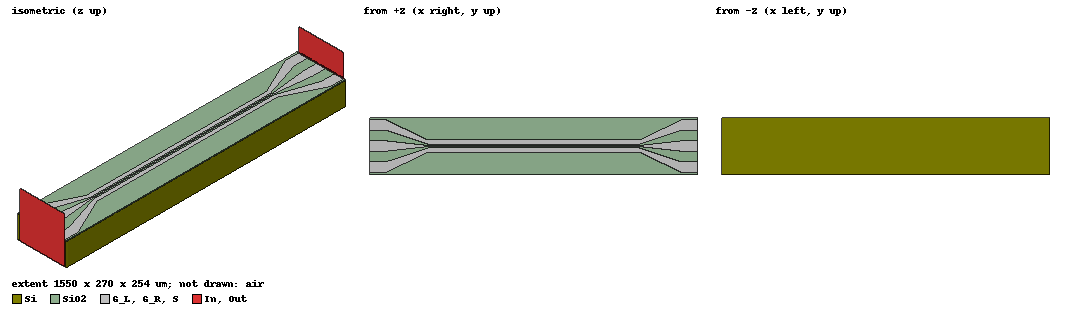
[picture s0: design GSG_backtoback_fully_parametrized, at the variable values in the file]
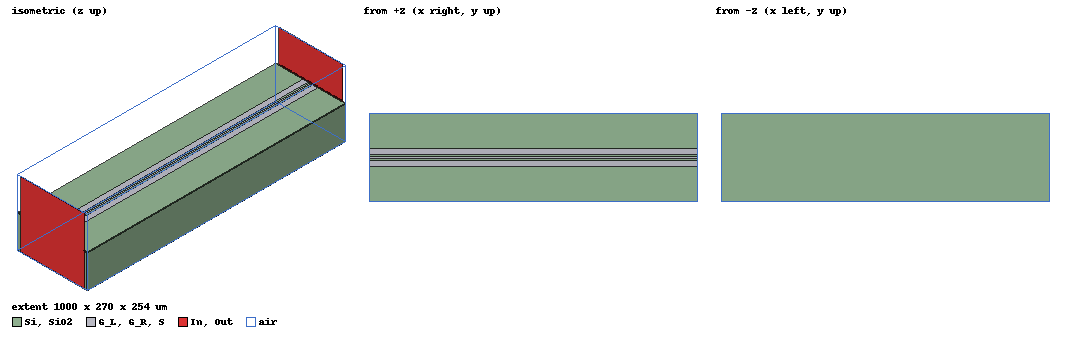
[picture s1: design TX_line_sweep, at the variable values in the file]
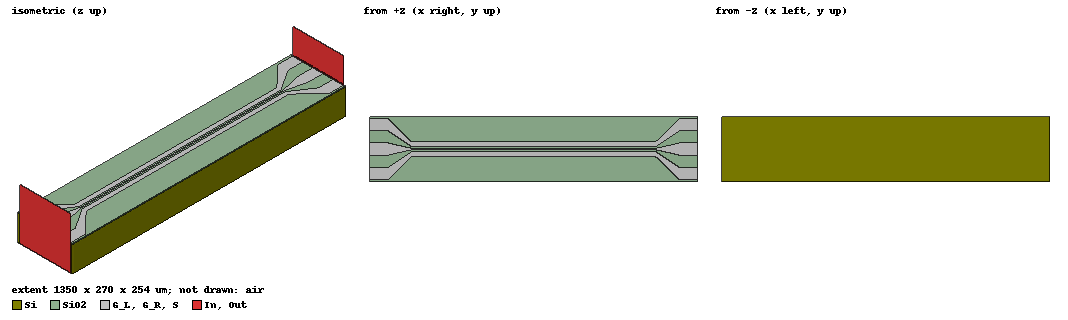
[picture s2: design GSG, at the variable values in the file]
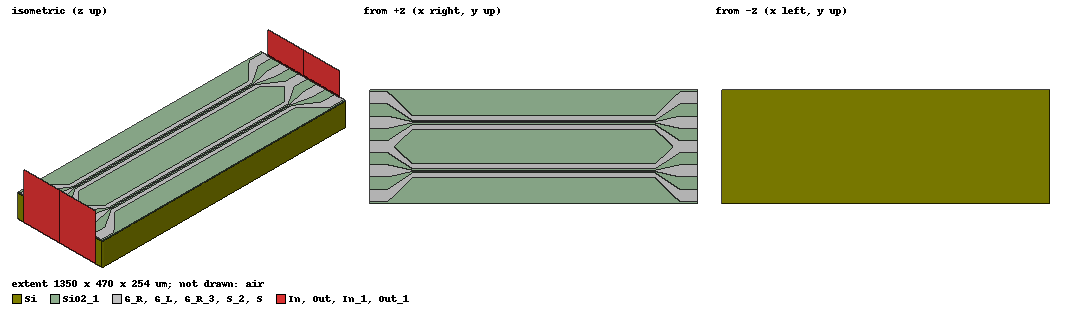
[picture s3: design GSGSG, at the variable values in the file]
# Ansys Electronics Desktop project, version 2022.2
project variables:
  $Si_sub = 127um
  $SiO2 = 1um
  $metal = 0.5um
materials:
  vacuum: permittivity=1
  silicon_dioxide: permittivity=4
  aluminum: permeability=1.000021 conductivity=38000000
  silicon: permittivity=11.9

design GSG_backtoback_fully_parametrized (HFSS, DrivenModal, model units um)
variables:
  pad_width = 50um
  pad_pitch = 50um
  pad_length = 75um
  transition = 200um
  end_width = 5um
  end_pitch = 6.4um
  end_length = 500um
  end_width_1 = 20um
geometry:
  SiO2 [silicon_dioxide] = box(corner=(0um, -0.5*(3*pad_width+2*pad_pitch+20um), -$SiO2), size=(pad_length+transition+end_length, 3*pad_width+2*pad_pitch+20um, $SiO2+$metal))
  S [aluminum] = box(corner=(0um, -0.5*pad_width, 0um), size=(pad_length, pad_width, $metal))
  G_L [aluminum] = box(corner=(0um, 0.5*pad_width+pad_pitch, 0um), size=(pad_length, pad_width, $metal))
  G_R [aluminum] = G_L.duplicate_mirror(point=(0um, 0um, 0um), normal=(0um, -1um, 0um))
  end_s = box(corner=(pad_length+transition+end_length, -0.5*end_width, 0um), size=(-end_length, end_width, $metal))
  end_g_l = box(corner=(pad_length+transition+end_length, 0.5*end_width+end_pitch, 0um), size=(-end_length, end_width_1, $metal))
  end_g_l_1 = end_g_l.duplicate_mirror(point=(675um, 0um, 0um), normal=(0um, -1um, 0um))
  Polyline1 = polyline(z=$metal, xy: (pad_length, 0.5*pad_width) (pad_length+transition, 0.5*end_width) (pad_length+transition, -0.5*end_width) (pad_length, -0.5*pad_width) (pad_length, 0.5*pad_width), closed, covered)
  Polyline2 = polyline(z=$metal, xy: (pad_length, -0.5*pad_width-pad_pitch) (pad_length+transition, -0.5*end_width-end_pitch) (pad_length+transition, -0.5*end_width-end_pitch-end_width_1) (pad_length, -1.5*pad_width-pad_pitch) (pad_length, -0.5*pad_width-pad_pitch), closed, covered)
  Polyline3 = polyline(z=$metal, xy: (pad_length, 1.5*pad_width+pad_width) (pad_length+transition, 0.5*end_width+end_pitch+end_width_1) (pad_length+transition, 0.5*end_width+end_pitch) (pad_length, 0.5*pad_width+pad_width) (pad_length, 1.5*pad_width+pad_width), closed, covered)
  [Polyline1, Polyline2, Polyline3].sweep_along_vector((0um, 0um, -$metal))
  S.unite(Polyline1, end_s)
  G_R.unite(Polyline2, end_g_l_1)
  G_L.unite(Polyline3, end_g_l)
  Si [silicon] = object_from(SiO2.face(-z))
  Si.sweep_along_vector((0um, 0um, -$Si_sub))
  In = rectangle(corner=(0um, -0.5*(3*pad_width+2*pad_pitch), -($SiO2+$Si_sub)), y_size=3*pad_width+2*pad_pitch, z_size=2*$Si_sub)
  Out = rectangle(corner=(2*(pad_length+transition+end_length), -0.5*(3*pad_width+2*pad_pitch), -($Si_sub+$SiO2)), y_size=3*pad_width+2*pad_pitch, z_size=2*$Si_sub)
  air [vacuum] = box(corner=(0um, -0.5*(3*pad_width+2*pad_pitch+20um), -($Si_sub+$SiO2)), size=(2*(pad_length+transition+end_length), 3*pad_width+2*pad_pitch+20um, 2*$Si_sub))
  G_L_1 = G_L.duplicate_mirror(point=(end_length+pad_length+transition, 0um, 0.5um), normal=(-1um, 0um, 0um))
  G_R_1 = G_R.duplicate_mirror(point=(end_length+pad_length+transition, 0um, 0.5um), normal=(-1um, 0um, 0um))
  S_1 = S.duplicate_mirror(point=(end_length+pad_length+transition, 0um, 0.5um), normal=(-1um, 0um, 0um))
  Si_1 = Si.duplicate_mirror(point=(end_length+pad_length+transition, 0um, 0.5um), normal=(-1um, 0um, 0um))
  SiO2_1 = SiO2.duplicate_mirror(point=(end_length+pad_length+transition, 0um, 0.5um), normal=(-1um, 0um, 0um))
  G_L.unite(G_L_1)
  G_R.unite(G_R_1)
  S.unite(S_1)
  Si.unite(Si_1)
  SiO2.unite(SiO2_1)
  S1 = box(corner=(0um, -0.5*pad_width, 0um), size=(pad_length, pad_width, $metal))
  Polyline4 = polyline(z=$metal, xy: (pad_length, 0.5*pad_width) (pad_length+transition, 0.5*end_width) (pad_length+transition, -0.5*end_width) (pad_length, -0.5*pad_width) (pad_length, 0.5*pad_width), closed, covered)
  Polyline4.sweep_along_vector((0um, 0um, -$metal))
  end_s1 = box(corner=(pad_length+transition+end_length, -0.5*end_width, 0um), size=(-end_length, end_width, $metal))
  S1.unite(Polyline4, end_s1)
  S_2 = S1.duplicate_mirror(point=(end_length+pad_length+transition, 0um, 0.5um), normal=(-1um, 0um, 0um))
  S1.unite(S_2)
  G_L1 = box(corner=(0um, 0.5*pad_width+pad_pitch, 0um), size=(pad_length, pad_width, $metal))
  G_R1 = G_L1.duplicate_mirror(point=(0um, 0um, 0um), normal=(0um, -1um, 0um))
  Polyline6 = polyline(z=$metal, xy: (pad_length, 1.5*pad_width+pad_width) (pad_length+transition, 0.5*end_width+end_pitch+end_width_1) (pad_length+transition, 0.5*end_width+end_pitch) (pad_length, 0.5*pad_width+pad_width) (pad_length, 1.5*pad_width+pad_width), closed, covered)
  Polyline6.sweep_along_vector((0um, 0um, -$metal))
  end_g_l1 = box(corner=(pad_length+transition+end_length, 0.5*end_width+end_pitch, 0um), size=(-end_length, end_width_1, $metal))
  end_g_l_2 = end_g_l1.duplicate_mirror(point=(675um, 0um, 0um), normal=(0um, -1um, 0um))
  G_L1.unite(Polyline6, end_g_l1)
  G_L_2 = G_L1.duplicate_mirror(point=(end_length+pad_length+transition, 0um, 0.5um), normal=(-1um, 0um, 0um))
  G_L1.unite(G_L_2)
  Polyline5 = polyline(z=$metal, xy: (pad_length, -0.5*pad_width-pad_pitch) (pad_length+transition, -0.5*end_width-end_pitch) (pad_length+transition, -0.5*end_width-end_pitch-end_width_1) (pad_length, -1.5*pad_width-pad_pitch) (pad_length, -0.5*pad_width-pad_pitch), closed, covered)
  Polyline5.sweep_along_vector((0um, 0um, -$metal))
  G_R1.unite(Polyline5, end_g_l_2)
  G_R_2 = G_R1.duplicate_mirror(point=(end_length+pad_length+transition, 0um, 0.5um), normal=(-1um, 0um, 0um))
  G_R1.unite(G_R_2)
  SiO2.subtract(G_L1, G_R1, S1)
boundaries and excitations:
  Rad1: Radiation Objects=air
  in: Wave Port Objects=In NumModes=2 Modes{Mode1{CharImp=Zpi} Mode2{CharImp=Zpi}}
  out: Wave Port Objects=Out NumModes=2 Modes{Mode1{CharImp=Zpi} Mode2{CharImp=Zpi}}
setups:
  Setup1: HfssDriven MultipleAdaptiveFreqsSetup{Low=1GHz High=100GHz} MaxDeltaS=0.02 MaximumPasses=10 MinimumPasses=1 MinimumConvergedPasses=1 PercentRefinement=30 BasisOrder=1 PortAccuracy=2 DrivenSolverType="Direct Solver"
    sweep Sweep: 1GHz to 100GHz, 397 points; Type=Interpolating InterpTolerance=0.5 InterpMaxSolns=250 InterpUsePortImped=false PassivityErrorTolerance=0.0001
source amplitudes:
  in:1: 1W 0deg
  in:2, out:1, out:2: 0W 0deg
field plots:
  1, 2: E Field on Setup1 : LastAdaptive at Freq=55GHz Phase=0deg
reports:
  Epsilon Plot 1: mag(Epsilon(in)), mag(Epsilon(out)) vs Freq on Setup1 : Sweep
  Port Zo Plot 1: mag(Zo(in)), mag(Zo(out)) vs Freq on Setup1 : Sweep
  S Parameter Plot 1: dB(S(in,in)), dB(S(in,out)) vs Freq on Setup1 : Sweep

design TX_line_sweep (HFSS, DrivenModal, model units um)
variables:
  width = 5um
  pitch = 6.4um
  width_1 = 20um
  length = 1000um
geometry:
  SiO2 [silicon_dioxide] = box(corner=(0um, -135um, -$SiO2), size=(length, 270um, $SiO2+$metal))
  Si [silicon] = object_from(SiO2.face(-z))
  Si.sweep_along_vector((0um, 0um, -$Si_sub))
  S [aluminum] = box(corner=(0um, -0.5*width, 0um), size=(length, width, $metal))
  G_L [aluminum] = box(corner=(0um, 0.5*width+pitch, 0um), size=(length, width_1, $metal))
  G_R [aluminum] = G_L.duplicate_mirror(point=(0um, 0um, 0um), normal=(0um, -1um, 0um))
  S1 = box(corner=(0um, -0.5*width, 0um), size=(length, width, $metal))
  G_L1 = box(corner=(0um, 0.5*width+pitch, 0um), size=(length, width_1, $metal))
  G_R1 = G_L1.duplicate_mirror(point=(0um, 0um, 0um), normal=(0um, -1um, 0um))
  SiO2.subtract(G_L1, G_R1, S1)
  In = rectangle(corner=(0um, -125um, -$Si_sub-$SiO2), y_size=250um, z_size=2*$Si_sub)
  Out = In.duplicate_along_line(step=(length, 0um, 0um), total=2)
  air [vacuum] = box(corner=(0um, 135um, -$Si_sub-$SiO2), size=(length, -270um, 2*$Si_sub))
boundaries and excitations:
  in: Wave Port Objects=In NumModes=1 Modes{Mode1{CharImp=Zpi}}
  out: Wave Port Objects=Out NumModes=1 Modes{Mode1{CharImp=Zpi}}
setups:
  Setup1: HfssDriven Frequency=5GHz MaxDeltaS=0.02 MaximumPasses=6 MinimumPasses=1 MinimumConvergedPasses=1 PercentRefinement=30 BasisOrder=1 PortAccuracy=2 DrivenSolverType="Direct Solver"
    sweep Sweep: 20GHz to 24GHz, 5 points; Type=Interpolating InterpTolerance=0.5 InterpMaxSolns=250 InterpUsePortImped=false PassivityErrorTolerance=0.0001
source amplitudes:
  in:1: 1W 0deg
  out:1: 0W 0deg
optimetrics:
  ParametricSetup1: Parametric Sim._Setups=[Setup1]
    sweep width: LIN 4um 6um 1um
    sweep pitch: LIN 5.6um 7.2um 0.4um
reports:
  Port Zo Plot 1: mag(Zo(in)), mag(Zo(out)) vs Freq on Setup1 : Sweep
  Epsilon Plot 1: mag(Epsilon(in)), mag(Epsilon(out)) vs Freq on Setup1 : Sweep
  Epsilon Plot 2: mag(Epsilon(in)) vs Freq on Setup1 : Sweep [width=all pitch=all]

design GSG (HFSS, DrivenModal, model units um)
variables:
  pad_width = 50um
  pad_pitch = 50um
  pad_length = 75um
  transition = 100um
  end_width = 5um
  end_pitch = 6.4um
  end_width_1 = 20um
  end_length = 500um
  h_len = pad_length+transition+end_length
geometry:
  SiO2 [silicon_dioxide] = box(corner=(0um, -0.5*(3*pad_width+2*pad_pitch+20um), -$SiO2), size=(h_len, 3*pad_width+2*pad_pitch+20um, $SiO2+$metal))
  S [aluminum] = box(corner=(0um, -0.5*pad_width, 0um), size=(pad_length, pad_width, $metal))
  G_L [aluminum] = box(corner=(0um, 0.5*pad_width+pad_pitch, 0um), size=(pad_length, pad_width, $metal))
  G_R [aluminum] = G_L.duplicate_mirror(point=(0um, 0um, 0um), normal=(0um, -1um, 0um))
  end_s = box(corner=(h_len, -0.5*end_width, 0um), size=(-end_length, end_width, $metal))
  end_g_l = box(corner=(h_len, 0.5*end_width+end_pitch, 0um), size=(-end_length, end_width_1, $metal))
  end_g_r = end_g_l.duplicate_mirror(point=(675um, 0um, 0.5um), normal=(0um, -1um, 0um))
  Polyline1 = polyline(z=0.5um, xy in um: (75, -25) (175, -2.5) (175, 2.5) (75, 25) (75, -25), closed, covered)
  Polyline2 = polyline(z=0.5um, xy in um: (75, -125) (175, -28.9) (175, -8.9) (75, -75) (75, -125), closed, covered)
  Polyline3 = polyline(z=0.5um, xy in um: (75, 75) (175, 8.9) (175, 28.9) (75, 125) (75, 75), closed, covered)
  [Polyline1, Polyline3, Polyline2].sweep_along_vector((0um, 0um, -$metal))
  S.unite(Polyline1, end_s)
  G_L.unite(Polyline3, end_g_l)
  G_R.unite(Polyline2, end_g_r)
  S1 = box(corner=(0um, -0.5*pad_width, 0um), size=(pad_length, pad_width, $metal))
  Polyline4 = polyline(z=0.5um, xy in um: (75, -25) (175, -2.5) (175, 2.5) (75, 25) (75, -25), closed, covered)
  Polyline4.sweep_along_vector((0um, 0um, -$metal))
  end_s1 = box(corner=(h_len, -0.5*end_width, 0um), size=(-end_length, end_width, $metal))
  S1.unite(Polyline4, end_s1)
  G_L1 = box(corner=(0um, 0.5*pad_width+pad_pitch, 0um), size=(pad_length, pad_width, $metal))
  G_R1 = G_L1.duplicate_mirror(point=(0um, 0um, 0um), normal=(0um, -1um, 0um))
  Polyline6 = polyline(z=0.5um, xy in um: (75, 75) (175, 8.9) (175, 28.9) (75, 125) (75, 75), closed, covered)
  Polyline6.sweep_along_vector((0um, 0um, -$metal))
  end_g_l1 = box(corner=(h_len, 0.5*end_width+end_pitch, 0um), size=(-end_length, end_width_1, $metal))
  end_g_r1 = end_g_l1.duplicate_mirror(point=(675um, 0um, 0.5um), normal=(0um, -1um, 0um))
  G_L1.unite(Polyline6, end_g_l1)
  Polyline5 = polyline(z=0.5um, xy in um: (75, -125) (175, -28.9) (175, -8.9) (75, -75) (75, -125), closed, covered)
  Polyline5.sweep_along_vector((0um, 0um, -$metal))
  G_R1.unite(Polyline5, end_g_r1)
  SiO2.subtract(G_L1, G_R1, S1)
  Si [silicon] = object_from(SiO2.face(-z))
  Si.sweep_along_vector((0um, 0um, -$Si_sub))
  SiO2_1 = SiO2.duplicate_mirror(point=(675um, 0um, 0.5um), normal=(1um, 0um, 0um))
  S_1 = S.duplicate_mirror(point=(675um, 0um, 0.5um), normal=(1um, 0um, 0um))
  G_L_1 = G_L.duplicate_mirror(point=(675um, 0um, 0.5um), normal=(1um, 0um, 0um))
  G_R_1 = G_R.duplicate_mirror(point=(675um, 0um, 0.5um), normal=(1um, 0um, 0um))
  Si_1 = Si.duplicate_mirror(point=(675um, 0um, 0.5um), normal=(1um, 0um, 0um))
  G_L.unite(G_L_1)
  G_R.unite(G_R_1)
  S.unite(S_1)
  Si.unite(Si_1)
  SiO2.unite(SiO2_1)
  In = rectangle(corner=(0um, -0.5*(3*pad_width+2*pad_pitch), -$Si_sub-$SiO2), y_size=(3*pad_width+2*pad_pitch), z_size=2*$Si_sub)
  Out = In.duplicate_along_line(step=(2*h_len, 0um, 0um), total=2)
  air [vacuum] = box(corner=(0um, -0.5*(3*pad_width+2*pad_pitch+20um), -$Si_sub-$SiO2), size=(2*h_len, 3*pad_width+2*pad_pitch+20um, 2*$Si_sub))
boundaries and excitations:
  Rad1: Radiation Objects=air
  in: Wave Port Objects=In NumModes=1 Modes{Mode1{CharImp=Zpi}}
  out: Wave Port Objects=Out NumModes=1 Modes{Mode1{CharImp=Zpi}}
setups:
  Setup1: HfssDriven MultipleAdaptiveFreqsSetup{Low=1GHz High=100GHz} MaxDeltaS=0.02 MaximumPasses=10 MinimumPasses=1 MinimumConvergedPasses=1 PercentRefinement=30 BasisOrder=1 PortAccuracy=2 DrivenSolverType="Direct Solver"
    sweep Sweep: 1GHz to 100GHz, 397 points; Type=Interpolating InterpTolerance=0.5 InterpMaxSolns=250 InterpUsePortImped=false PassivityErrorTolerance=0.0001
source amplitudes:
  in:1: 1W 0deg
  out:1: 0W 0deg
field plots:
  Mag_E1: E Field on Setup1 : LastAdaptive at Freq=55GHz Phase=0deg
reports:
  Port Zo Plot 1: mag(Zo(in)), mag(Zo(out)) vs Freq on Setup1 : Sweep
  S Parameter Plot 1: dB(S(in,in)), dB(S(in,out)) vs Freq on Setup1 : Sweep
  Epsilon Plot 1: mag(Epsilon(in)), mag(Epsilon(out)) vs Freq on Setup1 : Sweep

design GSGSG (HFSS, DrivenModal, model units um)
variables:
  pad_pitch = 50um
  pad_length = 75um
  pad_width = 50um
  transition = 100um
  end_width = 5um
  end_pitch = 6.4um
  end_width_1 = 20um
  end_length = 500um
  h_len = pad_length+transition+end_length
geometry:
  SiO2 = box(corner=(0um, -0.5*(3*pad_width+2*pad_pitch+20um), -$SiO2), size=(h_len, 3*pad_width+2*pad_pitch+20um, $SiO2+$metal))
  G_L1 = box(corner=(0um, 0.5*pad_width+pad_pitch, 0um), size=(pad_length, pad_width, $metal))
  G_R1 = G_L1.duplicate_mirror(point=(0um, 0um, 0um), normal=(0um, -1um, 0um))
  Polyline6 = polyline(z=0.5um, xy in um: (75, 75) (175, 8.9) (175, 28.9) (75, 125) (75, 75), closed, covered)
  Polyline6.sweep_along_vector((0um, 0um, -$metal))
  end_g_l1 = box(corner=(h_len, 0.5*end_width+end_pitch, 0um), size=(-end_length, end_width_1, $metal))
  end_g_r1 = end_g_l1.duplicate_mirror(point=(675um, 0um, 0.5um), normal=(0um, -1um, 0um))
  G_L1.unite(Polyline6, end_g_l1)
  Polyline5 = polyline(z=0.5um, xy in um: (75, -125) (175, -28.9) (175, -8.9) (75, -75) (75, -125), closed, covered)
  Polyline5.sweep_along_vector((0um, 0um, -$metal))
  G_R1.unite(Polyline5, end_g_r1)
  S1 = box(corner=(0um, -0.5*pad_width, 0um), size=(pad_length, pad_width, $metal))
  Polyline4 = polyline(z=0.5um, xy in um: (75, -25) (175, -2.5) (175, 2.5) (75, 25) (75, -25), closed, covered)
  Polyline4.sweep_along_vector((0um, 0um, -$metal))
  end_s1 = box(corner=(h_len, -0.5*end_width, 0um), size=(-end_length, end_width, $metal))
  S1.unite(Polyline4, end_s1)
  SiO2.subtract(G_L1, G_R1, S1)
  Si [silicon] = object_from(SiO2.face(-z))
  SiO2.delete()
  S [aluminum] = box(corner=(0um, -0.5*pad_width, 0um), size=(pad_length, pad_width, $metal))
  Polyline1 = polyline(z=0.5um, xy in um: (75, -25) (175, -2.5) (175, 2.5) (75, 25) (75, -25), closed, covered)
  Polyline1.sweep_along_vector((0um, 0um, -$metal))
  end_s = box(corner=(h_len, -0.5*end_width, 0um), size=(-end_length, end_width, $metal))
  S.unite(Polyline1, end_s)
  S_1 = S.duplicate_mirror(point=(675um, 0um, 0.5um), normal=(1um, 0um, 0um))
  S.unite(S_1)
  G_L [aluminum] = box(corner=(0um, 0.5*pad_width+pad_pitch, 0um), size=(pad_length, pad_width, $metal))
  G_R [aluminum] = G_L.duplicate_mirror(point=(0um, 0um, 0um), normal=(0um, -1um, 0um))
  Polyline3 = polyline(z=0.5um, xy in um: (75, 75) (175, 8.9) (175, 28.9) (75, 125) (75, 75), closed, covered)
  Polyline3.sweep_along_vector((0um, 0um, -$metal))
  end_g_l = box(corner=(h_len, 0.5*end_width+end_pitch, 0um), size=(-end_length, end_width_1, $metal))
  end_g_r = end_g_l.duplicate_mirror(point=(675um, 0um, 0.5um), normal=(0um, -1um, 0um))
  G_L.unite(Polyline3, end_g_l)
  G_L_1 = G_L.duplicate_mirror(point=(675um, 0um, 0.5um), normal=(1um, 0um, 0um))
  G_L.unite(G_L_1)
  Polyline2 = polyline(z=0.5um, xy in um: (75, -125) (175, -28.9) (175, -8.9) (75, -75) (75, -125), closed, covered)
  Polyline2.sweep_along_vector((0um, 0um, -$metal))
  G_R.unite(Polyline2, end_g_r)
  G_R_1 = G_R.duplicate_mirror(point=(675um, 0um, 0.5um), normal=(1um, 0um, 0um))
  G_R.unite(G_R_1)
  Si.sweep_along_vector((0um, 0um, -$Si_sub))
  Si_1 = Si.duplicate_mirror(point=(675um, 0um, 0.5um), normal=(1um, 0um, 0um))
  Si.unite(Si_1)
  In = rectangle(corner=(0um, -0.5*(2*pad_width+2*pad_pitch), -$Si_sub-$SiO2), y_size=(2*pad_width+2*pad_pitch), z_size=2*$Si_sub)
  Out = In.duplicate_along_line(step=(2*h_len, 0um, 0um), total=2)
  air [vacuum] = box(corner=(0um, 0.5*(3*pad_width+2*pad_pitch+20um), -$Si_sub-$SiO2), size=(2*h_len, -(5*pad_width+4*pad_pitch+20um), 2*$Si_sub))
  S_2 [aluminum] = S.duplicate_along_line(step=(0um, -200um, 0um), total=2)
  G_L_2 = G_L.duplicate_along_line(step=(0um, -200um, 0um), total=2)
  G_R_2 = G_R.duplicate_along_line(step=(0um, -200um, 0um), total=2)
  Si_2 = Si.duplicate_along_line(step=(0um, -200um, 0um), total=2)
  G_R.unite(G_L_2)
  In_1 = In.duplicate_along_line(step=(0um, -(2*pad_width+2*pad_pitch), 0um), total=2)
  Out_1 = Out.duplicate_along_line(step=(0um, -(2*pad_width+2*pad_pitch), 0um), total=2)
  Si.unite(Si_2)
  SiO2_1 [silicon_dioxide] = box(corner=(0um, 0.5*(3*pad_width+2*pad_pitch+20um), -$SiO2), size=(2*(pad_length+transition+end_length), -(5*pad_width+4*pad_pitch+20um), $SiO2+$metal))
  S2 = box(corner=(0um, -0.5*pad_width, 0um), size=(pad_length, pad_width, $metal))
  Polyline7 = polyline(z=0.5um, xy in um: (75, -25) (175, -2.5) (175, 2.5) (75, 25) (75, -25), closed, covered)
  Polyline7.sweep_along_vector((0um, 0um, -$metal))
  end_s2 = box(corner=(h_len, -0.5*end_width, 0um), size=(-end_length, end_width, $metal))
  S2.unite(Polyline7, end_s2)
  S_4 = S2.duplicate_mirror(point=(675um, 0um, 0.5um), normal=(1um, 0um, 0um))
  S2.unite(S_4)
  S_3 = S2.duplicate_along_line(step=(0um, -200um, 0um), total=2)
  G_L2 = box(corner=(0um, 0.5*pad_width+pad_pitch, 0um), size=(pad_length, pad_width, $metal))
  G_R2 = G_L2.duplicate_mirror(point=(0um, 0um, 0um), normal=(0um, -1um, 0um))
  Polyline9 = polyline(z=0.5um, xy in um: (75, 75) (175, 8.9) (175, 28.9) (75, 125) (75, 75), closed, covered)
  Polyline9.sweep_along_vector((0um, 0um, -$metal))
  end_g_l2 = box(corner=(h_len, 0.5*end_width+end_pitch, 0um), size=(-end_length, end_width_1, $metal))
  end_g_r2 = end_g_l2.duplicate_mirror(point=(675um, 0um, 0.5um), normal=(0um, -1um, 0um))
  G_L2.unite(Polyline9, end_g_l2)
  G_L_3 = G_L2.duplicate_mirror(point=(675um, 0um, 0.5um), normal=(1um, 0um, 0um))
  G_L2.unite(G_L_3)
  G_L_4 = G_L2.duplicate_along_line(step=(0um, -200um, 0um), total=2)
  Polyline8 = polyline(z=0.5um, xy in um: (75, -125) (175, -28.9) (175, -8.9) (75, -75) (75, -125), closed, covered)
  Polyline8.sweep_along_vector((0um, 0um, -$metal))
  G_R2.unite(Polyline8, end_g_r2)
  G_R_4 = G_R2.duplicate_mirror(point=(675um, 0um, 0.5um), normal=(1um, 0um, 0um))
  G_R2.unite(G_R_4)
  G_R_3 [aluminum] = G_R2.duplicate_along_line(step=(0um, -200um, 0um), total=2)
  G_R2.unite(G_L_4)
  SiO2_1.subtract(G_L2, G_R_2, G_R2, S_3, S2)
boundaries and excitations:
  Rad1: Radiation Objects=air
  in: Wave Port Objects=In NumModes=1 Modes{Mode1{CharImp=Zpi}}
  out: Wave Port Objects=Out NumModes=1 Modes{Mode1{CharImp=Zpi}}
  in1: Wave Port Objects=In_1 NumModes=1 Modes{Mode1{CharImp=Zpi}}
  out1: Wave Port Objects=Out_1 NumModes=1 Modes{Mode1{CharImp=Zpi}}
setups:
  Setup1: HfssDriven MultipleAdaptiveFreqsSetup{Low=1GHz High=50GHz} MaxDeltaS=0.02 MaximumPasses=10 MinimumPasses=1 MinimumConvergedPasses=1 PercentRefinement=30 BasisOrder=1 PortAccuracy=2 DrivenSolverType="Direct Solver"
    sweep Sweep: 1GHz to 50GHz, 197 points; Type=Interpolating InterpTolerance=0.5 InterpMaxSolns=250 InterpUsePortImped=false PassivityErrorTolerance=0.0001
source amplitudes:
  in:1: 1W 0deg
  out:1, in1:1, out1:1: 0W 0deg
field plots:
  Mag_E1: E Field on Setup1 : LastAdaptive at Freq=30GHz Phase=0deg
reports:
  Epsilon Plot 1: mag(Epsilon(in)), mag(Epsilon(in1)), mag(Epsilon(out)), mag(Epsilon(out1)) vs Freq on Setup1 : Sweep
  S Parameter Plot 1: dB(S(in,in)), dB(S(in,in1)), dB(S(in,out)), dB(S(in,out1)) vs Freq on Setup1 : Sweep
  Port Zo Plot 1: re(Zo(in)), re(Zo(in1)), re(Zo(out)), re(Zo(out1)) vs Freq on Setup1 : Sweep
